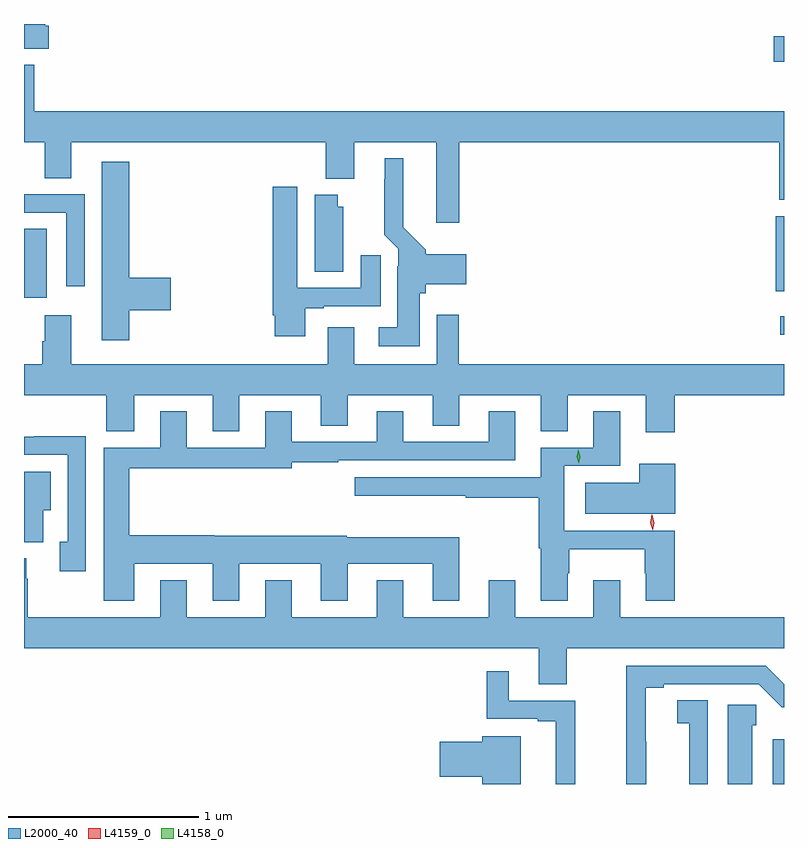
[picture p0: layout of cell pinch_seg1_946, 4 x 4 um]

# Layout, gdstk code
import gdstk
lib = gdstk.Library(unit=1e-6, precision=1e-09)
def R(c, l, rs):  # rectangles x0, y0, x1, y1
    for r in rs: c.add(gdstk.rectangle(r[:2], r[2:], *l))
def P(c, l, *ps):  # polygons
    for p in ps: c.add(gdstk.Polygon(p, *l))
L2000_40 = (2000, 40)
L4158_0 = (4158, 0)
L4159_0 = (4159, 0)

pinch_seg1_946 = lib.new_cell('pinch_seg1_946')
R(pinch_seg1_946, L2000_40, [(134.474,508.394,134.532,508.63), (134.511,510.758,134.532,510.856), (130.532,510.954,130.651,511.316), (134.489,510.987,134.532,511.383), (134.478,512.195,134.532,512.33)])
P(pinch_seg1_946, L2000_40, [(130.661,512.385),(130.643,512.385),(130.643,512.394),(130.532,512.394),(130.532,512.264),(130.661,512.264)],
  [(130.532,512.179),(130.532,511.772),(130.64,511.772),(130.64,511.582),(130.78,511.582),(130.78,511.772),(132.119,511.772),(132.119,511.58),(132.271,511.58),(132.271,511.772),(132.701,511.772),(132.701,511.347),(132.824,511.347),(132.824,511.772),(134.507,511.772),(134.507,511.468),(134.532,511.468),(134.532,511.936),(130.586,511.936),(130.586,512.179)],
  [(132.616,510.978),(132.647,510.978),(132.647,511.025),(132.859,511.025),(132.859,511.183),(132.647,511.183),(132.647,511.206),(132.529,511.324),(132.529,511.687),(132.431,511.687),(132.431,511.577),(132.427,511.577),(132.427,511.286),(132.501,511.212),(132.501,511.118),(132.497,511.118),(132.497,510.799),(132.399,510.799),(132.399,510.698),(132.616,510.698)],
  [(131.087,510.887),(131.305,510.887),(131.305,511.058),(131.087,511.058),(131.087,511.669),(130.94,511.669),(130.94,510.729),(131.087,510.729)],
  [(132.013,510.897),(132.109,510.897),(132.109,510.909),(132.409,510.909),(132.409,511.177),(132.305,511.177),(132.305,511.005),(131.971,511.005),(131.971,511.537),(131.84,511.537),(131.84,510.862),(131.852,510.862),(131.852,510.75),(132.013,510.75)],
  [(130.851,511.497),(130.532,511.497),(130.532,511.401),(130.755,511.401),(130.755,511.014),(130.851,511.014)],
  [(132.211,511.431),(132.184,511.431),(132.184,511.495),(132.062,511.495),(132.062,511.09),(132.211,511.09)],
  [(133.958,510.44),(134.532,510.44),(134.532,510.604),(132.821,510.604),(132.821,510.865),(132.705,510.865),(132.705,510.604),(132.271,510.604),(132.271,510.799),(132.131,510.799),(132.131,510.604),(130.78,510.604),(130.78,510.862),(130.64,510.862),(130.64,510.725),(130.628,510.725),(130.628,510.604),(130.532,510.604),(130.532,510.44),(130.966,510.44),(130.966,510.25),(131.113,510.25),(131.113,510.44),(131.525,510.44),(131.525,510.25),(131.665,510.25),(131.665,510.44),(132.095,510.44),(132.095,510.28),(132.235,510.28),(132.235,510.44),(132.683,510.44),(132.683,510.28),(132.823,510.28),(132.823,510.44),(133.253,510.44),(133.253,510.25),(133.393,510.25),(133.393,510.44),(133.805,510.44),(133.805,510.246),(133.958,510.246)],
  [(133.393,509.502),(133.401,509.502),(133.401,509.63),(133.798,509.63),(133.798,509.502),(133.805,509.502),(133.805,509.358),(133.958,509.358),(133.958,509.727),(133.375,509.727),(133.375,510.069),(133.669,510.069),(133.669,510.355),(133.529,510.355),(133.529,510.165),(133.253,510.165),(133.253,510.009),(132.273,510.009),(132.273,509.911),(132.857,509.911),(132.857,509.901),(133.241,509.901),(133.241,509.634),(133.253,509.634),(133.253,509.358),(133.393,509.358)],
  [(131.113,509.552),(131.525,509.552),(131.525,509.358),(131.665,509.358),(131.665,509.552),(132.095,509.552),(132.095,509.358),(132.235,509.358),(132.235,509.552),(132.683,509.552),(132.683,509.358),(132.823,509.358),(132.823,509.692),(132.231,509.692),(132.231,509.7),(131.532,509.7),(131.532,509.703),(131.087,509.703),(131.087,510.057),(131.941,510.057),(131.941,510.087),(132.185,510.087),(132.185,510.099),(133.117,510.099),(133.117,510.355),(132.977,510.355),(132.977,510.195),(132.529,510.195),(132.529,510.355),(132.389,510.355),(132.389,510.195),(131.941,510.195),(131.941,510.355),(131.801,510.355),(131.801,510.165),(131.389,510.165),(131.389,510.355),(131.249,510.355),(131.249,510.165),(130.952,510.165),(130.952,509.358),(131.113,509.358)],
  [(130.857,510.224),(130.585,510.224),(130.585,510.222),(130.532,510.222),(130.532,510.126),(130.761,510.126),(130.761,509.67),(130.721,509.67),(130.721,509.514),(130.857,509.514)],
  [(133.96,510.079),(133.769,510.079),(133.769,509.98),(133.485,509.98),(133.485,509.816),(133.96,509.816)],
  [(130.633,509.834),(130.672,509.834),(130.672,510.037),(130.532,510.037),(130.532,509.666),(130.633,509.666)],
  [(133.389,509.108),(134.532,509.108),(134.532,509.272),(133.669,509.272),(133.669,509.467),(133.529,509.467),(133.529,509.272),(133.117,509.272),(133.117,509.467),(132.977,509.467),(132.977,509.272),(132.529,509.272),(132.529,509.467),(132.389,509.467),(132.389,509.272),(131.941,509.272),(131.941,509.467),(131.801,509.467),(131.801,509.272),(131.389,509.272),(131.389,509.467),(131.249,509.467),(131.249,509.272),(130.551,509.272),(130.551,509.474),(130.543,509.474),(130.543,509.581),(130.532,509.581),(130.532,509.108),(133.241,509.108),(133.241,508.918),(133.389,508.918)],
  [(133.806,508.617),(133.804,508.617),(133.804,508.9),(133.9,508.9),(133.9,508.92),(134.4,508.92),(134.521,508.799),(134.532,508.799),(134.532,508.92),(134.436,509.016),(133.702,509.016),(133.702,508.394),(133.806,508.394)],
  [(133.433,508.833),(133.084,508.833),(133.084,508.987),(132.967,508.987),(132.967,508.737),(133.235,508.737),(133.235,508.725),(133.331,508.725),(133.331,508.394),(133.433,508.394)],
  [(134.13,508.835),(133.971,508.835),(133.971,508.715),(134.032,508.715),(134.032,508.411),(134.033,508.411),(134.033,508.394),(134.13,508.394)],
  [(134.365,508.704),(134.387,508.704),(134.387,508.81),(134.237,508.81),(134.237,508.394),(134.365,508.394)],
  [(133.147,508.645),(132.944,508.645),(132.944,508.616),(132.72,508.616),(132.72,508.433),(132.944,508.433),(132.944,508.394),(133.147,508.394)])
P(pinch_seg1_946, L4158_0, [(133.451,510.081),(133.44,510.116),(133.449,510.152),(133.449,510.152),(133.449,510.152),(133.46,510.117),(133.452,510.081),(133.452,510.081)])
P(pinch_seg1_946, L4159_0, [(133.84,509.728),(133.84,509.729),(133.829,509.769),(133.837,509.811),(133.837,509.811),(133.838,509.811),(133.849,509.77),(133.841,509.729)])

lib.write_gds('pinch_seg1_946.gds')
